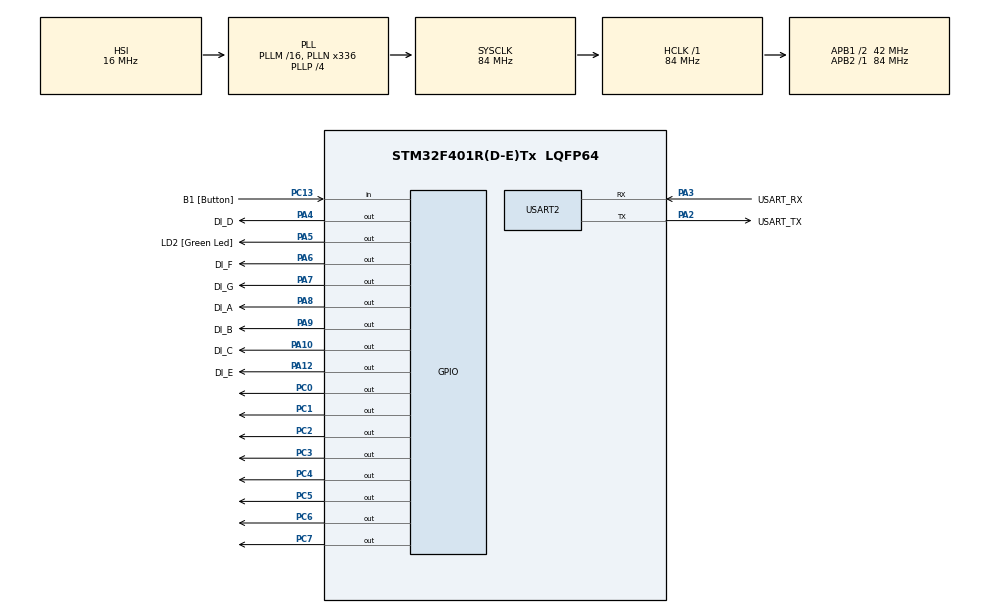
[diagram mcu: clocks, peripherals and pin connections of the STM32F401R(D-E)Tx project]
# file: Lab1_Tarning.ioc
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Mcu.Family=STM32F4
Mcu.Name=STM32F401R(D-E)Tx
Mcu.Package=LQFP64
NVIC.PriorityGroup=NVIC_PRIORITYGROUP_0
PA10.GPIO_Label=DI_C
PA10.Signal=GPIO_Output
PA12.GPIO_Label=DI_E
PA12.Signal=GPIO_Output
PA14.GPIO_Label=TCK
PA14.Signal=SYS_JTCK-SWCLK
PA2.GPIO_Label=USART_TX
PA2.GPIO_Mode=GPIO_MODE_AF_PP
PA2.GPIO_PuPd=GPIO_NOPULL
PA2.GPIO_Speed=GPIO_SPEED_FREQ_LOW
PA2.Mode=Asynchronous
PA2.Signal=USART2_TX
PA3.GPIO_Label=USART_RX
PA3.GPIO_Mode=GPIO_MODE_AF_PP
PA3.GPIO_PuPd=GPIO_NOPULL
PA3.GPIO_Speed=GPIO_SPEED_FREQ_LOW
PA3.Mode=Asynchronous
PA3.Signal=USART2_RX
PA4.GPIO_Label=DI_D
PA4.Signal=GPIO_Output
PA5.GPIO_Label=LD2 [Green Led]
PA5.GPIO_Mode=GPIO_MODE_OUTPUT_PP
PA5.GPIO_PuPd=GPIO_NOPULL
PA5.GPIO_Speed=GPIO_SPEED_FREQ_LOW
PA5.Signal=GPIO_Output
PA6.GPIO_Label=DI_F
PA6.Signal=GPIO_Output
PA7.GPIO_Label=DI_G
PA7.Signal=GPIO_Output
PA8.GPIO_Label=DI_A
PA8.Signal=GPIO_Output
PA9.GPIO_Label=DI_B
PA9.Signal=GPIO_Output
PB3.GPIO_Label=SWO
PB3.Signal=SYS_JTDO-SWO
PC0.Signal=GPIO_Output
PC1.Signal=GPIO_Output
PC13-ANTI_TAMP.GPIO_Label=B1 [Button]
PC13-ANTI_TAMP.GPIO_PuPd=GPIO_PULLUP
PC13-ANTI_TAMP.Signal=GPIO_Input
PC14-OSC32_IN.Mode=LSE-External-Oscillator
PC14-OSC32_IN.Signal=RCC_OSC32_IN
PC15-OSC32_OUT.Mode=LSE-External-Oscillator
PC15-OSC32_OUT.Signal=RCC_OSC32_OUT
PC2.Signal=GPIO_Output
PC3.Signal=GPIO_Output
PC4.Signal=GPIO_Output
PC5.Signal=GPIO_Output
PC6.Signal=GPIO_Output
PC7.Signal=GPIO_Output
PH0\ -\ OSC_IN.Mode=HSE-External-Clock-Source
PH0\ -\ OSC_IN.Signal=RCC_OSC_IN
PH1\ -\ OSC_OUT.Mode=HSE-External-Clock-Source
PH1\ -\ OSC_OUT.Signal=RCC_OSC_OUT
ProjectManager.HeapSize=0x200
ProjectManager.StackSize=0x400
ProjectManager.TargetToolchain=STM32CubeIDE
RCC.48MHZClocksFreq_Value=48000000
RCC.AHBFreq_Value=84000000
RCC.APB1CLKDivider=RCC_HCLK_DIV2
RCC.APB1Freq_Value=42000000
RCC.APB1TimFreq_Value=84000000
RCC.APB2Freq_Value=84000000
RCC.APB2TimFreq_Value=84000000
RCC.CortexFreq_Value=84000000
RCC.HCLKFreq_Value=84000000
RCC.HSE_VALUE=8000000
RCC.HSI_VALUE=16000000
RCC.PLLN=336
RCC.PLLP=RCC_PLLP_DIV4
RCC.PLLQ=7
RCC.SYSCLKFreq_VALUE=84000000
RCC.SYSCLKSource=RCC_SYSCLKSOURCE_PLLCLK
RCC.VCOOutputFreq_Value=336000000
USART2.VirtualMode=VM_ASYNC
board=NUCLEO-F401RE

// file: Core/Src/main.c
/* USER CODE BEGIN Header */
/**
 ******************************************************************************
 * @file           : main.c
 * @brief          : Main program body
 ******************************************************************************
 * @attention
 *
 * Copyright (c) 2024 STMicroelectronics.
 * All rights reserved.
 *
 * This software is licensed under terms that can be found in the LICENSE file
 * in the root directory of this software component.
 * If no LICENSE file comes with this software, it is provided AS-IS.
 *
 ******************************************************************************
 */
/* USER CODE END Header */
#include "main.h"

UART_HandleTypeDef huart2;

/* USER CODE BEGIN PV */
const uint8_t sseg[10] = {0x3F, 0x06, 0x5B, 0x4F, 0x66, 0x6D, 0x7D, 0x07, 0x7F, 0x6F};
const uint8_t sseg_err = 0xDC;

/* USER CODE END PV */

void SystemClock_Config(void);
static void MX_GPIO_Init(void);
static void MX_USART2_UART_Init(void);
/* USER CODE BEGIN PFP */
int is_blue_button_pressed();
void put_die_dots(uint8_t die_nbr);
void put_on_sseg(uint8_t dec_nbr);

/* USER CODE END PFP */

/* USER CODE BEGIN 0 */

int is_blue_button_pressed(){
	uint32_t reg_reading = GPIOC->IDR;
	uint16_t B1_pin_nbr = 13;
	uint16_t B1_pin = 0x00000001 << B1_pin_nbr;
	return !(reg_reading & B1_pin);
}
void put_die_dots(uint8_t die_nbr){
	HAL_GPIO_WritePin(GPIOA, GPIO_PIN_4, GPIO_PIN_RESET);
	HAL_GPIO_WritePin(GPIOA, GPIO_PIN_6, GPIO_PIN_RESET);
	HAL_GPIO_WritePin(GPIOA, GPIO_PIN_7, GPIO_PIN_RESET);
	HAL_GPIO_WritePin(GPIOA, GPIO_PIN_8, GPIO_PIN_RESET);
	HAL_GPIO_WritePin(GPIOA, GPIO_PIN_9, GPIO_PIN_RESET);
	HAL_GPIO_WritePin(GPIOA, GPIO_PIN_10, GPIO_PIN_RESET);
	HAL_GPIO_WritePin(GPIOA, GPIO_PIN_12, GPIO_PIN_RESET);

	switch (die_nbr){

	case 1:
		HAL_GPIO_WritePin(GPIOA, GPIO_PIN_4, GPIO_PIN_SET);

		break;
	case 2:

		HAL_GPIO_WritePin(GPIOA, GPIO_PIN_8, GPIO_PIN_SET);
		HAL_GPIO_WritePin(GPIOA, GPIO_PIN_7, GPIO_PIN_SET);

		break;

	case 3:
		HAL_GPIO_WritePin(GPIOA, GPIO_PIN_12, GPIO_PIN_SET);
		HAL_GPIO_WritePin(GPIOA, GPIO_PIN_4, GPIO_PIN_SET);
		HAL_GPIO_WritePin(GPIOA, GPIO_PIN_10, GPIO_PIN_SET);

		break;

	case 4:
		HAL_GPIO_WritePin(GPIOA, GPIO_PIN_8, GPIO_PIN_SET);
		HAL_GPIO_WritePin(GPIOA, GPIO_PIN_10, GPIO_PIN_SET);
		HAL_GPIO_WritePin(GPIOA, GPIO_PIN_12, GPIO_PIN_SET);
		HAL_GPIO_WritePin(GPIOA, GPIO_PIN_7, GPIO_PIN_SET);

		break;
	case 5:
		HAL_GPIO_WritePin(GPIOA, GPIO_PIN_8, GPIO_PIN_SET);
		HAL_GPIO_WritePin(GPIOA, GPIO_PIN_4, GPIO_PIN_SET);
		HAL_GPIO_WritePin(GPIOA, GPIO_PIN_10, GPIO_PIN_SET);
		HAL_GPIO_WritePin(GPIOA, GPIO_PIN_12, GPIO_PIN_SET);
		HAL_GPIO_WritePin(GPIOA, GPIO_PIN_7, GPIO_PIN_SET);
		break;

	case 6:
		HAL_GPIO_WritePin(GPIOA, GPIO_PIN_8, GPIO_PIN_SET);
		HAL_GPIO_WritePin(GPIOA, GPIO_PIN_7, GPIO_PIN_SET);
		HAL_GPIO_WritePin(GPIOA, GPIO_PIN_10, GPIO_PIN_SET);
		HAL_GPIO_WritePin(GPIOA, GPIO_PIN_9, GPIO_PIN_SET);
		HAL_GPIO_WritePin(GPIOA, GPIO_PIN_12, GPIO_PIN_SET);
		HAL_GPIO_WritePin(GPIOA, GPIO_PIN_6, GPIO_PIN_SET);

		break;

	default:
		HAL_GPIO_WritePin(GPIOA, GPIO_PIN_7, GPIO_PIN_RESET);
		HAL_GPIO_WritePin(GPIOA, GPIO_PIN_6, GPIO_PIN_RESET);
		HAL_GPIO_WritePin(GPIOA, GPIO_PIN_12, GPIO_PIN_RESET);
		HAL_GPIO_WritePin(GPIOA, GPIO_PIN_4, GPIO_PIN_RESET);
		HAL_GPIO_WritePin(GPIOA, GPIO_PIN_10, GPIO_PIN_RESET);
		HAL_GPIO_WritePin(GPIOA, GPIO_PIN_9, GPIO_PIN_RESET);
		HAL_GPIO_WritePin(GPIOA, GPIO_PIN_8, GPIO_PIN_RESET);
		break;

	}
}
void put_on_sseg(uint8_t dec_nbr){
	if(dec_nbr >= 0 && dec_nbr <= 9){
		GPIOC->ODR = sseg[dec_nbr];

	}
	else {
		GPIOC->ODR = sseg_err;
	}

}

/* USER CODE END 0 */

int main(void)
{

  /* MCU Configuration--------------------------------------------------------*/

  /* Reset of all peripherals, Initializes the Flash interface and the Systick. */
  HAL_Init();

  /* Configure the system clock */
  SystemClock_Config();

  /* Initialize all configured peripherals */
  MX_GPIO_Init();
  MX_USART2_UART_Init();

  /* Infinite loop */
  /* USER CODE BEGIN WHILE */
	for(uint8_t i = 0; i <= 9; i++)
	{
		put_on_sseg(i);
		HAL_Delay(333);
	}
	put_on_sseg(88);
	HAL_Delay(333);
	uint8_t die_value;
	uint8_t dice_value;
	int pressed = 0;
	while (1)
	{
		//uint8_t di = rand()%6 +1
		// pressed = !HAL_GPIO_ReadPin(B1_GPIO_Port, B1_Pin);
		pressed = is_blue_button_pressed();
		if(pressed){
			HAL_GPIO_WritePin(LD2_GPIO_Port, LD2_Pin, GPIO_PIN_SET);
			die_value = (die_value >= 6) ? 1 : (die_value + 1);
			dice_value = (dice_value >= 9) ? 1 : (dice_value + 1);

		}
		else {
			GPIO_TypeDef* Id2_gpio = GPIOA;
			uint16_t Id2_pin_nbr = 5;
			uint16_t Id2_pin = 0x01 << Id2_pin_nbr;
			HAL_GPIO_WritePin(Id2_gpio, Id2_pin, GPIO_PIN_RESET);

		}
		put_die_dots(die_value);
		put_on_sseg(dice_value);
		HAL_Delay(200);
    /* USER CODE END WHILE */

	}
}

void SystemClock_Config(void)
{
  RCC_OscInitTypeDef RCC_OscInitStruct = {0};
  RCC_ClkInitTypeDef RCC_ClkInitStruct = {0};

  /** Configure the main internal regulator output voltage
  */
  __HAL_RCC_PWR_CLK_ENABLE();
  __HAL_PWR_VOLTAGESCALING_CONFIG(PWR_REGULATOR_VOLTAGE_SCALE2);

  /** Initializes the RCC Oscillators according to the specified parameters
  * in the RCC_OscInitTypeDef structure.
  */
  RCC_OscInitStruct.OscillatorType = RCC_OSCILLATORTYPE_HSI;
  RCC_OscInitStruct.HSIState = RCC_HSI_ON;
  RCC_OscInitStruct.HSICalibrationValue = RCC_HSICALIBRATION_DEFAULT;
  RCC_OscInitStruct.PLL.PLLState = RCC_PLL_ON;
  RCC_OscInitStruct.PLL.PLLSource = RCC_PLLSOURCE_HSI;
  RCC_OscInitStruct.PLL.PLLM = 16;
  RCC_OscInitStruct.PLL.PLLN = 336;
  RCC_OscInitStruct.PLL.PLLP = RCC_PLLP_DIV4;
  RCC_OscInitStruct.PLL.PLLQ = 7;
  if (HAL_RCC_OscConfig(&RCC_OscInitStruct) != HAL_OK)
  {
    Error_Handler();
  }

  /** Initializes the CPU, AHB and APB buses clocks
  */
  RCC_ClkInitStruct.ClockType = RCC_CLOCKTYPE_HCLK|RCC_CLOCKTYPE_SYSCLK
                              |RCC_CLOCKTYPE_PCLK1|RCC_CLOCKTYPE_PCLK2;
  RCC_ClkInitStruct.SYSCLKSource = RCC_SYSCLKSOURCE_PLLCLK;
  RCC_ClkInitStruct.AHBCLKDivider = RCC_SYSCLK_DIV1;
  RCC_ClkInitStruct.APB1CLKDivider = RCC_HCLK_DIV2;
  RCC_ClkInitStruct.APB2CLKDivider = RCC_HCLK_DIV1;

  if (HAL_RCC_ClockConfig(&RCC_ClkInitStruct, FLASH_LATENCY_2) != HAL_OK)
  {
    Error_Handler();
  }
}

static void MX_USART2_UART_Init(void)
{

  huart2.Instance = USART2;
  huart2.Init.BaudRate = 115200;
  huart2.Init.WordLength = UART_WORDLENGTH_8B;
  huart2.Init.StopBits = UART_STOPBITS_1;
  huart2.Init.Parity = UART_PARITY_NONE;
  huart2.Init.Mode = UART_MODE_TX_RX;
  huart2.Init.HwFlowCtl = UART_HWCONTROL_NONE;
  huart2.Init.OverSampling = UART_OVERSAMPLING_16;
  if (HAL_UART_Init(&huart2) != HAL_OK)
  {
    Error_Handler();
  }

}

static void MX_GPIO_Init(void)
{
  GPIO_InitTypeDef GPIO_InitStruct = {0};

  /* GPIO Ports Clock Enable */
  __HAL_RCC_GPIOC_CLK_ENABLE();
  __HAL_RCC_GPIOH_CLK_ENABLE();
  __HAL_RCC_GPIOA_CLK_ENABLE();
  __HAL_RCC_GPIOB_CLK_ENABLE();

  /*Configure GPIO pin Output Level */
  HAL_GPIO_WritePin(GPIOC, GPIO_PIN_0|GPIO_PIN_1|GPIO_PIN_2|GPIO_PIN_3
                          |GPIO_PIN_4|GPIO_PIN_5|GPIO_PIN_6|GPIO_PIN_7, GPIO_PIN_RESET);

  /*Configure GPIO pin Output Level */
  HAL_GPIO_WritePin(GPIOA, DI_D_Pin|LD2_Pin|DI_F_Pin|DI_G_Pin
                          |DI_A_Pin|DI_B_Pin|DI_C_Pin|DI_E_Pin, GPIO_PIN_RESET);

  /*Configure GPIO pin : B1_Pin */
  GPIO_InitStruct.Pin = B1_Pin;
  GPIO_InitStruct.Mode = GPIO_MODE_INPUT;
  GPIO_InitStruct.Pull = GPIO_PULLUP;
  HAL_GPIO_Init(B1_GPIO_Port, &GPIO_InitStruct);

  /*Configure GPIO pins : PC0 PC1 PC2 PC3
                           PC4 PC5 PC6 PC7 */
  GPIO_InitStruct.Pin = GPIO_PIN_0|GPIO_PIN_1|GPIO_PIN_2|GPIO_PIN_3
                          |GPIO_PIN_4|GPIO_PIN_5|GPIO_PIN_6|GPIO_PIN_7;
  GPIO_InitStruct.Mode = GPIO_MODE_OUTPUT_PP;
  GPIO_InitStruct.Pull = GPIO_NOPULL;
  GPIO_InitStruct.Speed = GPIO_SPEED_FREQ_LOW;
  HAL_GPIO_Init(GPIOC, &GPIO_InitStruct);

  /*Configure GPIO pins : DI_D_Pin LD2_Pin DI_F_Pin DI_G_Pin
                           DI_A_Pin DI_B_Pin DI_C_Pin DI_E_Pin */
  GPIO_InitStruct.Pin = DI_D_Pin|LD2_Pin|DI_F_Pin|DI_G_Pin
                          |DI_A_Pin|DI_B_Pin|DI_C_Pin|DI_E_Pin;
  GPIO_InitStruct.Mode = GPIO_MODE_OUTPUT_PP;
  GPIO_InitStruct.Pull = GPIO_NOPULL;
  GPIO_InitStruct.Speed = GPIO_SPEED_FREQ_LOW;
  HAL_GPIO_Init(GPIOA, &GPIO_InitStruct);

}

void Error_Handler(void)
{
	__disable_irq();
	while (1)
	{
	}
}
